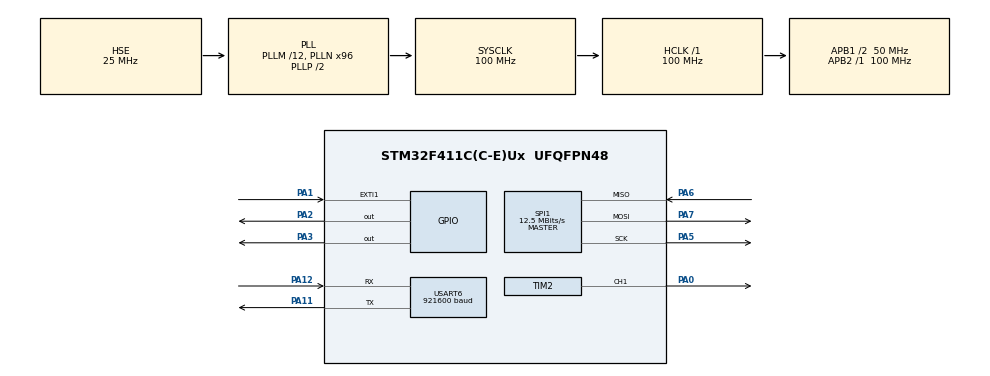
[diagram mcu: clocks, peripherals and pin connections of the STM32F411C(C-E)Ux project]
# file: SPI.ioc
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Dma.Request0=SPI1_RX
Dma.Request1=SPI1_TX
Dma.Request2=USART6_TX
Dma.SPI1_RX.0.Direction=DMA_PERIPH_TO_MEMORY
Dma.SPI1_RX.0.FIFOMode=DMA_FIFOMODE_DISABLE
Dma.SPI1_RX.0.Instance=DMA2_Stream0
Dma.SPI1_RX.0.MemDataAlignment=DMA_MDATAALIGN_HALFWORD
Dma.SPI1_RX.0.MemInc=DMA_MINC_ENABLE
Dma.SPI1_RX.0.Mode=DMA_NORMAL
Dma.SPI1_RX.0.PeriphDataAlignment=DMA_PDATAALIGN_HALFWORD
Dma.SPI1_RX.0.PeriphInc=DMA_PINC_DISABLE
Dma.SPI1_RX.0.Priority=DMA_PRIORITY_HIGH
Dma.SPI1_TX.1.Direction=DMA_MEMORY_TO_PERIPH
Dma.SPI1_TX.1.FIFOMode=DMA_FIFOMODE_DISABLE
Dma.SPI1_TX.1.Instance=DMA2_Stream3
Dma.SPI1_TX.1.MemDataAlignment=DMA_MDATAALIGN_HALFWORD
Dma.SPI1_TX.1.MemInc=DMA_MINC_ENABLE
Dma.SPI1_TX.1.Mode=DMA_NORMAL
Dma.SPI1_TX.1.PeriphDataAlignment=DMA_PDATAALIGN_HALFWORD
Dma.SPI1_TX.1.PeriphInc=DMA_PINC_DISABLE
Dma.SPI1_TX.1.Priority=DMA_PRIORITY_LOW
Dma.USART6_TX.2.Direction=DMA_MEMORY_TO_PERIPH
Dma.USART6_TX.2.FIFOMode=DMA_FIFOMODE_DISABLE
Dma.USART6_TX.2.Instance=DMA2_Stream6
Dma.USART6_TX.2.MemDataAlignment=DMA_MDATAALIGN_BYTE
Dma.USART6_TX.2.MemInc=DMA_MINC_ENABLE
Dma.USART6_TX.2.Mode=DMA_NORMAL
Dma.USART6_TX.2.PeriphDataAlignment=DMA_PDATAALIGN_BYTE
Dma.USART6_TX.2.PeriphInc=DMA_PINC_DISABLE
Dma.USART6_TX.2.Priority=DMA_PRIORITY_MEDIUM
Mcu.Family=STM32F4
Mcu.Name=STM32F411C(C-E)Ux
Mcu.Package=UFQFPN48
NVIC.DMA2_Stream0_IRQn=true\:0\:0\:false\:false\:true\:false\:true\:true
NVIC.DMA2_Stream3_IRQn=true\:0\:0\:false\:false\:true\:false\:true\:true
NVIC.DMA2_Stream6_IRQn=true\:0\:0\:false\:false\:true\:false\:true\:true
NVIC.EXTI1_IRQn=true\:0\:0\:false\:false\:true\:true\:true\:true
NVIC.PriorityGroup=NVIC_PRIORITYGROUP_4
NVIC.SPI1_IRQn=true\:0\:0\:false\:false\:true\:true\:true\:true
NVIC.USART6_IRQn=true\:0\:0\:false\:false\:true\:true\:true\:true
PA0-WKUP.Signal=S_TIM2_CH1_ETR
PA1.GPIO_ModeDefaultEXTI=GPIO_MODE_IT_FALLING
PA1.Signal=GPXTI1
PA11.Mode=Asynchronous
PA11.Signal=USART6_TX
PA12.Mode=Asynchronous
PA12.Signal=USART6_RX
PA2.PinState=GPIO_PIN_SET
PA2.Signal=GPIO_Output
PA3.Signal=GPIO_Output
PA5.Mode=Full_Duplex_Master
PA5.Signal=SPI1_SCK
PA6.Mode=Full_Duplex_Master
PA6.Signal=SPI1_MISO
PA7.Mode=Full_Duplex_Master
PA7.Signal=SPI1_MOSI
PH0\ -\ OSC_IN.Mode=HSE-External-Oscillator
PH0\ -\ OSC_IN.Signal=RCC_OSC_IN
PH1\ -\ OSC_OUT.Mode=HSE-External-Oscillator
PH1\ -\ OSC_OUT.Signal=RCC_OSC_OUT
ProjectManager.HeapSize=0x200
ProjectManager.StackSize=0x400
ProjectManager.TargetToolchain=STM32CubeIDE
RCC.48MHZClocksFreq_Value=50000000
RCC.AHBFreq_Value=100000000
RCC.APB1CLKDivider=RCC_HCLK_DIV2
RCC.APB1Freq_Value=50000000
RCC.APB1TimFreq_Value=100000000
RCC.APB2Freq_Value=100000000
RCC.APB2TimFreq_Value=100000000
RCC.CortexFreq_Value=100000000
RCC.HCLKFreq_Value=100000000
RCC.HSE_VALUE=25000000
RCC.HSI_VALUE=16000000
RCC.LSE_VALUE=32768
RCC.PLLM=12
RCC.PLLN=96
RCC.PLLSourceVirtual=RCC_PLLSOURCE_HSE
RCC.SYSCLKFreq_VALUE=100000000
RCC.SYSCLKSource=RCC_SYSCLKSOURCE_PLLCLK
RCC.VCOOutputFreq_Value=200000000
SH.S_TIM2_CH1_ETR.0=TIM2_CH1,PWM Generation1 CH1
SPI1.BaudRatePrescaler=SPI_BAUDRATEPRESCALER_8
SPI1.CalculateBaudRate=12.5 MBits/s
SPI1.DataSize=SPI_DATASIZE_16BIT
SPI1.Direction=SPI_DIRECTION_2LINES
SPI1.Mode=SPI_MODE_MASTER
SPI1.VirtualType=VM_MASTER
TIM2.Channel-PWM\ Generation1\ CH1=TIM_CHANNEL_1
TIM2.Period=99
TIM2.Prescaler=99
TIM2.Pulse-PWM\ Generation1\ CH1=10
USART6.BaudRate=921600
USART6.VirtualMode=VM_ASYNC
VP_TIM2_VS_ClockSourceINT.Mode=Internal
board=custom

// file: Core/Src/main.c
/* USER CODE BEGIN Header */
/**
  ******************************************************************************
  * @file           : main.c
  * @brief          : Main program body
  ******************************************************************************
  * @attention
  *
  * Copyright (c) 2026 STMicroelectronics.
  * All rights reserved.
  *
  * This software is licensed under terms that can be found in the LICENSE file
  * in the root directory of this software component.
  * If no LICENSE file comes with this software, it is provided AS-IS.
  *
  ******************************************************************************
  */
/* USER CODE END Header */
#include "main.h"

/* USER CODE BEGIN Includes */
#include "arm_math.h"
#include <string.h>
#include <math.h>
/* USER CODE END Includes */

/* USER CODE BEGIN PTD */
#define SAMPLES 1024
#define HARMONICS 25

// DSP Calibration (Multiplying by inverse is faster than division)
#define V_CALIBRATION_FACTOR (1.0f / 63.9204f)
#define I_CALIBRATION_FACTOR (1.0f / 432.5244f)
#define SAMPLING_FREQ 10000.0f

//static uint32_t tx_start_tick = 0;

typedef struct __attribute__((packed)) {
    uint32_t  start_byte;
    uint32_t  seq;

    int16_t  voltage[SAMPLES];
    int16_t  current[SAMPLES];

    float    v_rms, i_rms;
    float    frequency;
    float    power_factor;
    float    active_power, apparent_power, reactive_power;
    float    crest_factor_v, crest_factor_i;
    float    swell_factor;
    float    thd_v, thd_i;
    float    harmonics_v[HARMONICS];
    float    harmonics_i[HARMONICS];

    uint16_t checksum;
} WaveformPacket_t;   // 4351 bytes total

static WaveformPacket_t pkt;
static volatile uint8_t tx_busy = 0;
/* USER CODE END PTD */

SPI_HandleTypeDef hspi1;
DMA_HandleTypeDef hdma_spi1_rx;
DMA_HandleTypeDef hdma_spi1_tx;

TIM_HandleTypeDef htim2;

UART_HandleTypeDef huart6;
DMA_HandleTypeDef hdma_usart6_tx;

/* USER CODE BEGIN PV */
int16_t dma_rx_buffer[5]; // to store each 100us SPI output of first 5 channel

//For testing Only
int16_t dummy_tx[5] = {0, 0, 0, 0, 0};
volatile uint32_t dma_errors = 0;
volatile HAL_StatusTypeDef last_spi_status = HAL_OK;

int16_t voltage_A[1024];
int16_t current_A[1024];
int16_t voltage_B[1024];
int16_t current_B[1024];

//Parameters for tracking
volatile uint16_t local_sample = 0;
volatile uint8_t fill_half_A = 1;   // 1 = Writing to A arrays, 0 = Writing to B arrays

volatile uint8_t process_half_A = 0;
volatile uint8_t process_half_B = 0;

volatile uint8_t process_buffer_flag = 0;
uint32_t seq_counter = 0;

// DSP Static Arrays (Kept in global RAM to save stack space)
static float32_t v_float[SAMPLES];
static float32_t i_float[SAMPLES];

static float32_t fft_output_v[SAMPLES];
static float32_t magnitudes_v[SAMPLES / 2];

static float32_t fft_output_i[SAMPLES];
static float32_t magnitudes_i[SAMPLES / 2];

/* USER CODE END PV */

void SystemClock_Config(void);
static void MX_GPIO_Init(void);
static void MX_DMA_Init(void);
static void MX_SPI1_Init(void);
static void MX_TIM2_Init(void);
static void MX_USART6_UART_Init(void);
/* USER CODE BEGIN PFP */

static uint16_t compute_checksum(const uint8_t *data, size_t len)
{
    uint16_t sum = 0;
    for (size_t i = 0; i < len; i++) sum += data[i];
    return sum;
}

// The Real DSP Function
void Calculate_Power_Quality(WaveformPacket_t* p)
{
    float32_t active_power_sum = 0.0f;
    float32_t v_max = 0.0f;
    float32_t i_max = 0.0f;

    float32_t temp_v_rms = 0.0f;
    float32_t temp_i_rms = 0.0f;
    float32_t temp_reactive = 0.0f;
    float32_t temp_thd_v = 0.0f;
    float32_t temp_thd_i = 0.0f;

    // 1. CONVERT, SCALE, AND FIND PEAKS
    for (uint16_t i = 0; i < SAMPLES; i++)
    {
        v_float[i] = (float32_t)p->voltage[i] * V_CALIBRATION_FACTOR;
        i_float[i] = (float32_t)p->current[i] * I_CALIBRATION_FACTOR;

        if (fabsf(v_float[i]) > v_max) v_max = fabsf(v_float[i]);
        if (fabsf(i_float[i]) > i_max) i_max = fabsf(i_float[i]);
    }

    // 2. RMS & CREST FACTOR
    arm_rms_f32(v_float, SAMPLES, &temp_v_rms);
    arm_rms_f32(i_float, SAMPLES, &temp_i_rms);

    p->v_rms = temp_v_rms;
    p->i_rms = temp_i_rms;

    p->crest_factor_v = (p->v_rms > 0.1f) ? (v_max / p->v_rms) : 0.0f;
    p->crest_factor_i = (p->i_rms > 0.01f) ? (i_max / p->i_rms) : 0.0f;

    // 3. POWER CALCULATIONS
    arm_dot_prod_f32(v_float, i_float, SAMPLES, &active_power_sum);
    p->active_power = active_power_sum / (float32_t)SAMPLES;
    p->apparent_power = p->v_rms * p->i_rms;

    p->power_factor = (p->apparent_power > 0.1f) ? (p->active_power / p->apparent_power) : 0.0f;
    if (p->power_factor > 1.0f) p->power_factor = 1.0f;
    if (p->power_factor < -1.0f) p->power_factor = -1.0f;

    float32_t q_sq = (p->apparent_power * p->apparent_power) - (p->active_power * p->active_power);
    arm_sqrt_f32((q_sq > 0.0f) ? q_sq : 0.0f, &temp_reactive);
    p->reactive_power = temp_reactive;

    // 4. FFT ON VOLTAGE AND CURRENT
    // (init once, not every call — arm_rfft_fast_init_f32 just fills a struct with twiddle
    //  factor pointers, it's wasted work to redo it on every single packet)
    static arm_rfft_fast_instance_f32 fft_inst;
    static uint8_t fft_initialized = 0;
    if (!fft_initialized) {
        arm_rfft_fast_init_f32(&fft_inst, SAMPLES);
        fft_initialized = 1;
    }

    arm_rfft_fast_f32(&fft_inst, v_float, fft_output_v, 0);
    arm_cmplx_mag_f32(fft_output_v, magnitudes_v, SAMPLES / 2);

    arm_rfft_fast_f32(&fft_inst, i_float, fft_output_i, 0);
    arm_cmplx_mag_f32(fft_output_i, magnitudes_i, SAMPLES / 2);

    // 5. FIND THE FUNDAMENTAL — full-spectrum search (bin 0 / DC excluded)
    // Voltage is used as the reference for the fundamental bin. Current is often far more
    // distorted (nonlinear loads, switching supplies) and its true peak bin can drift away
    // from the real fundamental, so anchoring both channels' harmonic numbering to the
    // voltage fundamental is the standard approach in power quality analyzers.
    float32_t max_mag = 0.0f;
    uint32_t fundamental_bin = 1;

    for (uint32_t b = 1; b < (SAMPLES / 2); b++) {
        if (magnitudes_v[b] > max_mag) {
            max_mag = magnitudes_v[b];
            fundamental_bin = b;
        }
    }

    // Parabolic interpolation across the 3 bins around the peak for sub-bin frequency
    // resolution. Raw bin spacing is SAMPLING_FREQ/SAMPLES ≈ 9.77 Hz here, which is coarse
    // enough that 49 Hz and 51 Hz could otherwise land in the same bin.
    float32_t bin_freq = SAMPLING_FREQ / (float32_t)SAMPLES;
    float32_t true_bin = (float32_t)fundamental_bin;
    if (fundamental_bin > 1 && fundamental_bin < (SAMPLES / 2 - 1)) {
        float32_t alpha = magnitudes_v[fundamental_bin - 1];
        float32_t beta  = magnitudes_v[fundamental_bin];
        float32_t gamma = magnitudes_v[fundamental_bin + 1];
        float32_t denom = (alpha - 2.0f * beta + gamma);
        if (fabsf(denom) > 1e-9f) {
            float32_t offset = 0.5f * (alpha - gamma) / denom;
            if (offset > 0.5f) offset = 0.5f;
            if (offset < -0.5f) offset = -0.5f;
            true_bin = (float32_t)fundamental_bin + offset;
        }
    }

    p->frequency = true_bin * bin_freq;

    // 6. HARMONICS + THD — VOLTAGE
    float32_t harmonic_sq_sum_v = 0.0f;
    for (int h = 0; h < HARMONICS; h++)
    {
        uint32_t target_bin = fundamental_bin * (h + 1);
        if (target_bin < (SAMPLES / 2)) {
            p->harmonics_v[h] = magnitudes_v[target_bin] * (2.0f / (float32_t)SAMPLES);
        } else {
            p->harmonics_v[h] = 0.0f;
        }
        if (h > 0) harmonic_sq_sum_v += (p->harmonics_v[h] * p->harmonics_v[h]);
    }

    float32_t fundamental_rms_v = p->harmonics_v[0] / 1.41421356f;
    if (fundamental_rms_v > 1.0f) {
        arm_sqrt_f32(harmonic_sq_sum_v, &temp_thd_v);
        p->thd_v = (temp_thd_v / 1.41421356f) / fundamental_rms_v * 100.0f;
    } else {
        p->thd_v = 0.0f;
    }

    // 7. HARMONICS + THD — CURRENT (same fundamental_bin as voltage — see note above)
    float32_t harmonic_sq_sum_i = 0.0f;
    for (int h = 0; h < HARMONICS; h++)
    {
        uint32_t target_bin = fundamental_bin * (h + 1);
        if (target_bin < (SAMPLES / 2)) {
            p->harmonics_i[h] = magnitudes_i[target_bin] * (2.0f / (float32_t)SAMPLES);
        } else {
            p->harmonics_i[h] = 0.0f;
        }
        if (h > 0) harmonic_sq_sum_i += (p->harmonics_i[h] * p->harmonics_i[h]);
    }

    // Current amplitude scale is very different from voltage (amps vs volts), so the
    // "is there even a signal here" threshold needs to be much smaller than 1.0f.
    // Tune this to whatever your minimum expected load current actually is.
    float32_t fundamental_rms_i = p->harmonics_i[0] / 1.41421356f;
    if (fundamental_rms_i > 0.01f) {
        arm_sqrt_f32(harmonic_sq_sum_i, &temp_thd_i);
        p->thd_i = (temp_thd_i / 1.41421356f) / fundamental_rms_i * 100.0f;
    } else {
        p->thd_i = 0.0f;
    }
}

// --- YOUR PROVEN CALLBACKS ---

//void HAL_TIM_PeriodElapsedCallback(TIM_HandleTypeDef *htim)
//{
//    if (htim->Instance == TIM2) {
//        // ONLY SET THE FLAG HERE. DO NOT DO MATH!
//        if (!tx_busy) {
//            process_buffer_flag = 1;
//        }
//    }
//}

void HAL_UART_TxCpltCallback(UART_HandleTypeDef *huart)
{
    if (huart->Instance == USART6) {
        //tx_duration_ms = HAL_GetTick() - tx_start_tick;
        tx_busy = 0;
    }
}

/* USER CODE END PFP */

int main(void)
{

  /* MCU Configuration--------------------------------------------------------*/

  /* Reset of all peripherals, Initializes the Flash interface and the Systick. */
  HAL_Init();

  /* Configure the system clock */
  SystemClock_Config();

  /* Initialize all configured peripherals */
  MX_GPIO_Init();
  MX_DMA_Init();
  MX_SPI1_Init();
  MX_TIM2_Init();
  MX_USART6_UART_Init();
  /* USER CODE BEGIN 2 */

  HAL_GPIO_WritePin(GPIOA, GPIO_PIN_2, GPIO_PIN_SET); //To prevent ADC to think it's ready to talk(Need confirmation)

  HAL_NVIC_DisableIRQ(EXTI1_IRQn); //Disable Busy interrupts before Reseting the ADC as ADC resets ADC may output unpredictable Busy signals making DMA fires at unwanted stage
  //Start the ADC
  HAL_GPIO_WritePin(GPIOA, GPIO_PIN_3, GPIO_PIN_SET);
  HAL_Delay(1);   // Hold reset for 1 millisecond
  HAL_GPIO_WritePin(GPIOA, GPIO_PIN_3, GPIO_PIN_RESET);
  HAL_Delay(10);  // Give the ADC 10ms to wake up and stabilize

  __HAL_GPIO_EXTI_CLEAR_IT(GPIO_PIN_1);

    // 5. UN-MUTE THE ALARM: Re-enable EXTI Line 1
  HAL_NVIC_EnableIRQ(EXTI1_IRQn);

  //Start PWM
  HAL_TIM_PWM_Start(&htim2, TIM_CHANNEL_1);

  /* USER CODE END 2 */

  /* Infinite loop */
  while (1)
  {

    /* USER CODE BEGIN 3 */

	if (process_half_A == 1)
	{
		process_half_A = 0; // Clear the flag immediately so we don't double-process

		// 1. Wait for the previous USART transmission to finish (if it hasn't already)
		while (tx_busy == 1)
		{
			// CPU spins here for a fraction of a millisecond
		}

		// 2. Setup Packet Headers
		pkt.start_byte = 0xAA55AA55;
		pkt.seq = seq_counter++;

		// 3. Load the fresh raw ADC data into the packet struct
		memcpy(pkt.voltage, voltage_A, sizeof(voltage_A));
		memcpy(pkt.current, current_A, sizeof(current_A));

		// 4. Run the Hardware FPU Math
		// (This crunches the data sitting inside pkt.voltage and pkt.current)
		Calculate_Power_Quality(&pkt);

		// 5. Secure it with the checksum
		pkt.checksum = compute_checksum((uint8_t*)&pkt, sizeof(pkt) - sizeof(pkt.checksum));

		// 6. Blast the completed packet out over USART DMA
		tx_busy = 1;
		HAL_UART_Transmit_DMA(&huart6, (uint8_t*)&pkt, sizeof(pkt));
	}

	// ---------------------------------------------------------
	// BUFFER B IS FULL
	// ---------------------------------------------------------
	else if (process_half_B == 1)
	{
		process_half_B = 0;

		while (tx_busy == 1) {}

		pkt.start_byte = 0xAA55AA55;
		pkt.seq = seq_counter++;

		// Load the B buffer data this time!
		memcpy(pkt.voltage, voltage_B, sizeof(voltage_B));
		memcpy(pkt.current, current_B, sizeof(current_B));

		Calculate_Power_Quality(&pkt);

		pkt.checksum = compute_checksum((uint8_t*)&pkt, sizeof(pkt) - sizeof(pkt.checksum));

		tx_busy = 1;
		HAL_UART_Transmit_DMA(&huart6, (uint8_t*)&pkt, sizeof(pkt));
	}
  }
  /* USER CODE END 3 */
}

void SystemClock_Config(void)
{
  RCC_OscInitTypeDef RCC_OscInitStruct = {0};
  RCC_ClkInitTypeDef RCC_ClkInitStruct = {0};

  /** Configure the main internal regulator output voltage
  */
  __HAL_RCC_PWR_CLK_ENABLE();
  __HAL_PWR_VOLTAGESCALING_CONFIG(PWR_REGULATOR_VOLTAGE_SCALE1);

  /** Initializes the RCC Oscillators according to the specified parameters
  * in the RCC_OscInitTypeDef structure.
  */
  RCC_OscInitStruct.OscillatorType = RCC_OSCILLATORTYPE_HSE;
  RCC_OscInitStruct.HSEState = RCC_HSE_ON;
  RCC_OscInitStruct.PLL.PLLState = RCC_PLL_ON;
  RCC_OscInitStruct.PLL.PLLSource = RCC_PLLSOURCE_HSE;
  RCC_OscInitStruct.PLL.PLLM = 12;
  RCC_OscInitStruct.PLL.PLLN = 96;
  RCC_OscInitStruct.PLL.PLLP = RCC_PLLP_DIV2;
  RCC_OscInitStruct.PLL.PLLQ = 4;
  if (HAL_RCC_OscConfig(&RCC_OscInitStruct) != HAL_OK)
  {
    Error_Handler();
  }

  /** Initializes the CPU, AHB and APB buses clocks
  */
  RCC_ClkInitStruct.ClockType = RCC_CLOCKTYPE_HCLK|RCC_CLOCKTYPE_SYSCLK
                              |RCC_CLOCKTYPE_PCLK1|RCC_CLOCKTYPE_PCLK2;
  RCC_ClkInitStruct.SYSCLKSource = RCC_SYSCLKSOURCE_PLLCLK;
  RCC_ClkInitStruct.AHBCLKDivider = RCC_SYSCLK_DIV1;
  RCC_ClkInitStruct.APB1CLKDivider = RCC_HCLK_DIV2;
  RCC_ClkInitStruct.APB2CLKDivider = RCC_HCLK_DIV1;

  if (HAL_RCC_ClockConfig(&RCC_ClkInitStruct, FLASH_LATENCY_3) != HAL_OK)
  {
    Error_Handler();
  }
}

static void MX_SPI1_Init(void)
{

  /* SPI1 parameter configuration*/
  hspi1.Instance = SPI1;
  hspi1.Init.Mode = SPI_MODE_MASTER;
  hspi1.Init.Direction = SPI_DIRECTION_2LINES;
  hspi1.Init.DataSize = SPI_DATASIZE_16BIT;
  hspi1.Init.CLKPolarity = SPI_POLARITY_LOW;
  hspi1.Init.CLKPhase = SPI_PHASE_1EDGE;
  hspi1.Init.NSS = SPI_NSS_SOFT;
  hspi1.Init.BaudRatePrescaler = SPI_BAUDRATEPRESCALER_8;
  hspi1.Init.FirstBit = SPI_FIRSTBIT_MSB;
  hspi1.Init.TIMode = SPI_TIMODE_DISABLE;
  hspi1.Init.CRCCalculation = SPI_CRCCALCULATION_DISABLE;
  hspi1.Init.CRCPolynomial = 10;
  if (HAL_SPI_Init(&hspi1) != HAL_OK)
  {
    Error_Handler();
  }

}

static void MX_TIM2_Init(void)
{

  TIM_ClockConfigTypeDef sClockSourceConfig = {0};
  TIM_MasterConfigTypeDef sMasterConfig = {0};
  TIM_OC_InitTypeDef sConfigOC = {0};

  htim2.Instance = TIM2;
  htim2.Init.Prescaler = 99;
  htim2.Init.CounterMode = TIM_COUNTERMODE_UP;
  htim2.Init.Period = 99;
  htim2.Init.ClockDivision = TIM_CLOCKDIVISION_DIV1;
  htim2.Init.AutoReloadPreload = TIM_AUTORELOAD_PRELOAD_DISABLE;
  if (HAL_TIM_Base_Init(&htim2) != HAL_OK)
  {
    Error_Handler();
  }
  sClockSourceConfig.ClockSource = TIM_CLOCKSOURCE_INTERNAL;
  if (HAL_TIM_ConfigClockSource(&htim2, &sClockSourceConfig) != HAL_OK)
  {
    Error_Handler();
  }
  if (HAL_TIM_PWM_Init(&htim2) != HAL_OK)
  {
    Error_Handler();
  }
  sMasterConfig.MasterOutputTrigger = TIM_TRGO_RESET;
  sMasterConfig.MasterSlaveMode = TIM_MASTERSLAVEMODE_DISABLE;
  if (HAL_TIMEx_MasterConfigSynchronization(&htim2, &sMasterConfig) != HAL_OK)
  {
    Error_Handler();
  }
  sConfigOC.OCMode = TIM_OCMODE_PWM1;
  sConfigOC.Pulse = 10;
  sConfigOC.OCPolarity = TIM_OCPOLARITY_HIGH;
  sConfigOC.OCFastMode = TIM_OCFAST_DISABLE;
  if (HAL_TIM_PWM_ConfigChannel(&htim2, &sConfigOC, TIM_CHANNEL_1) != HAL_OK)
  {
    Error_Handler();
  }
  HAL_TIM_MspPostInit(&htim2);

}

static void MX_USART6_UART_Init(void)
{

  huart6.Instance = USART6;
  huart6.Init.BaudRate = 921600;
  huart6.Init.WordLength = UART_WORDLENGTH_8B;
  huart6.Init.StopBits = UART_STOPBITS_1;
  huart6.Init.Parity = UART_PARITY_NONE;
  huart6.Init.Mode = UART_MODE_TX_RX;
  huart6.Init.HwFlowCtl = UART_HWCONTROL_NONE;
  huart6.Init.OverSampling = UART_OVERSAMPLING_16;
  if (HAL_UART_Init(&huart6) != HAL_OK)
  {
    Error_Handler();
  }

}

static void MX_DMA_Init(void)
{

  /* DMA controller clock enable */
  __HAL_RCC_DMA2_CLK_ENABLE();

  /* DMA interrupt init */
  /* DMA2_Stream0_IRQn interrupt configuration */
  HAL_NVIC_SetPriority(DMA2_Stream0_IRQn, 0, 0);
  HAL_NVIC_EnableIRQ(DMA2_Stream0_IRQn);
  /* DMA2_Stream3_IRQn interrupt configuration */
  HAL_NVIC_SetPriority(DMA2_Stream3_IRQn, 0, 0);
  HAL_NVIC_EnableIRQ(DMA2_Stream3_IRQn);
  /* DMA2_Stream6_IRQn interrupt configuration */
  HAL_NVIC_SetPriority(DMA2_Stream6_IRQn, 0, 0);
  HAL_NVIC_EnableIRQ(DMA2_Stream6_IRQn);

}

static void MX_GPIO_Init(void)
{
  GPIO_InitTypeDef GPIO_InitStruct = {0};

  /* GPIO Ports Clock Enable */
  __HAL_RCC_GPIOH_CLK_ENABLE();
  __HAL_RCC_GPIOA_CLK_ENABLE();

  /*Configure GPIO pin Output Level */
  HAL_GPIO_WritePin(GPIOA, GPIO_PIN_2, GPIO_PIN_SET);

  /*Configure GPIO pin Output Level */
  HAL_GPIO_WritePin(GPIOA, GPIO_PIN_3, GPIO_PIN_RESET);

  /*Configure GPIO pin : PA1 */
  GPIO_InitStruct.Pin = GPIO_PIN_1;
  GPIO_InitStruct.Mode = GPIO_MODE_IT_FALLING;
  GPIO_InitStruct.Pull = GPIO_NOPULL;
  HAL_GPIO_Init(GPIOA, &GPIO_InitStruct);

  /*Configure GPIO pins : PA2 PA3 */
  GPIO_InitStruct.Pin = GPIO_PIN_2|GPIO_PIN_3;
  GPIO_InitStruct.Mode = GPIO_MODE_OUTPUT_PP;
  GPIO_InitStruct.Pull = GPIO_NOPULL;
  GPIO_InitStruct.Speed = GPIO_SPEED_FREQ_LOW;
  HAL_GPIO_Init(GPIOA, &GPIO_InitStruct);

  /* EXTI interrupt init*/
  HAL_NVIC_SetPriority(EXTI1_IRQn, 0, 0);
  HAL_NVIC_EnableIRQ(EXTI1_IRQn);

}

/* USER CODE BEGIN 4 */

//--------Catch interrupt from falling edge of Busy Pin----------//
//void HAL_GPIO_EXTI_Callback(uint16_t GPIO_Pin)
//{
//    // Check if the interrupt came from the BUSY pin (PA1)
//    if (GPIO_Pin == GPIO_PIN_1)
//    {
//        // 1. WAKE UP ADC: Pull CS (PA2) LOW
//        HAL_GPIO_WritePin(GPIOA, GPIO_PIN_2, GPIO_PIN_RESET);
//
//        // 2. FETCH DATA: Tell DMA to grab exactly 5 words (10 bytes)
//        //HAL_SPI_Receive_DMA(&hspi1, (uint8_t*)dma_rx_buffer, 5);
//        HAL_SPI_TransmitReceive_DMA(&hspi1, (uint8_t*)dummy_tx, (uint8_t*)dma_rx_buffer, 5);
//    }
//}
void HAL_GPIO_EXTI_Callback(uint16_t GPIO_Pin)
{
    if (GPIO_Pin == GPIO_PIN_1)
    {
        // SAFEGUARD: Only initiate a new DMA transfer if the SPI is ready
        if (hspi1.State == HAL_SPI_STATE_READY)
        {
            // 1. WAKE UP ADC: Pull CS (PA2) LOW
            HAL_GPIO_WritePin(GPIOA, GPIO_PIN_2, GPIO_PIN_RESET);

            // Capture the return status explicitly
            last_spi_status = HAL_SPI_TransmitReceive_DMA(&hspi1, (uint8_t*)dummy_tx, (uint8_t*)dma_rx_buffer, 5);

            if (last_spi_status != HAL_OK)
            {
                dma_errors++; // Keep your breakpoint here to catch errors
            }
        }
    }
}

//----------Catch the interrupt from DMA and arrange them-----------//
//void HAL_SPI_RxCpltCallback(SPI_HandleTypeDef *hspi)
void HAL_SPI_TxRxCpltCallback(SPI_HandleTypeDef *hspi)
{
    if (hspi->Instance == SPI1)
    {
        // 1. PUT ADC TO SLEEP
        HAL_GPIO_WritePin(GPIOA, GPIO_PIN_2, GPIO_PIN_SET);

        // 2. ROUTE THE DATA TO THE CORRECT ARRAYS
        if (fill_half_A == 1)
        {
            current_A[local_sample] = dma_rx_buffer[4];
            voltage_A[local_sample] = dma_rx_buffer[0];
        }
        else
        {
            current_B[local_sample] = dma_rx_buffer[4];
            voltage_B[local_sample] = dma_rx_buffer[0];
        }

        local_sample++;

        // 3. THE STOPWATCH LOGIC
        if (local_sample >= 1024)
        {
            local_sample = 0; // Reset for the next batch

            if (fill_half_A == 1)
            {
                process_half_A = 1;  // Tell main() that A is full
                fill_half_A = 0;     // Switch the hardware to fill B next
            }
            else
            {
                process_half_B = 1;  // Tell main() that B is full
                fill_half_A = 1;     // Switch the hardware to fill A next
            }
        }
    }
}

/* USER CODE END 4 */

void Error_Handler(void)
{
  __disable_irq();
  while (1)
  {
  }
}
